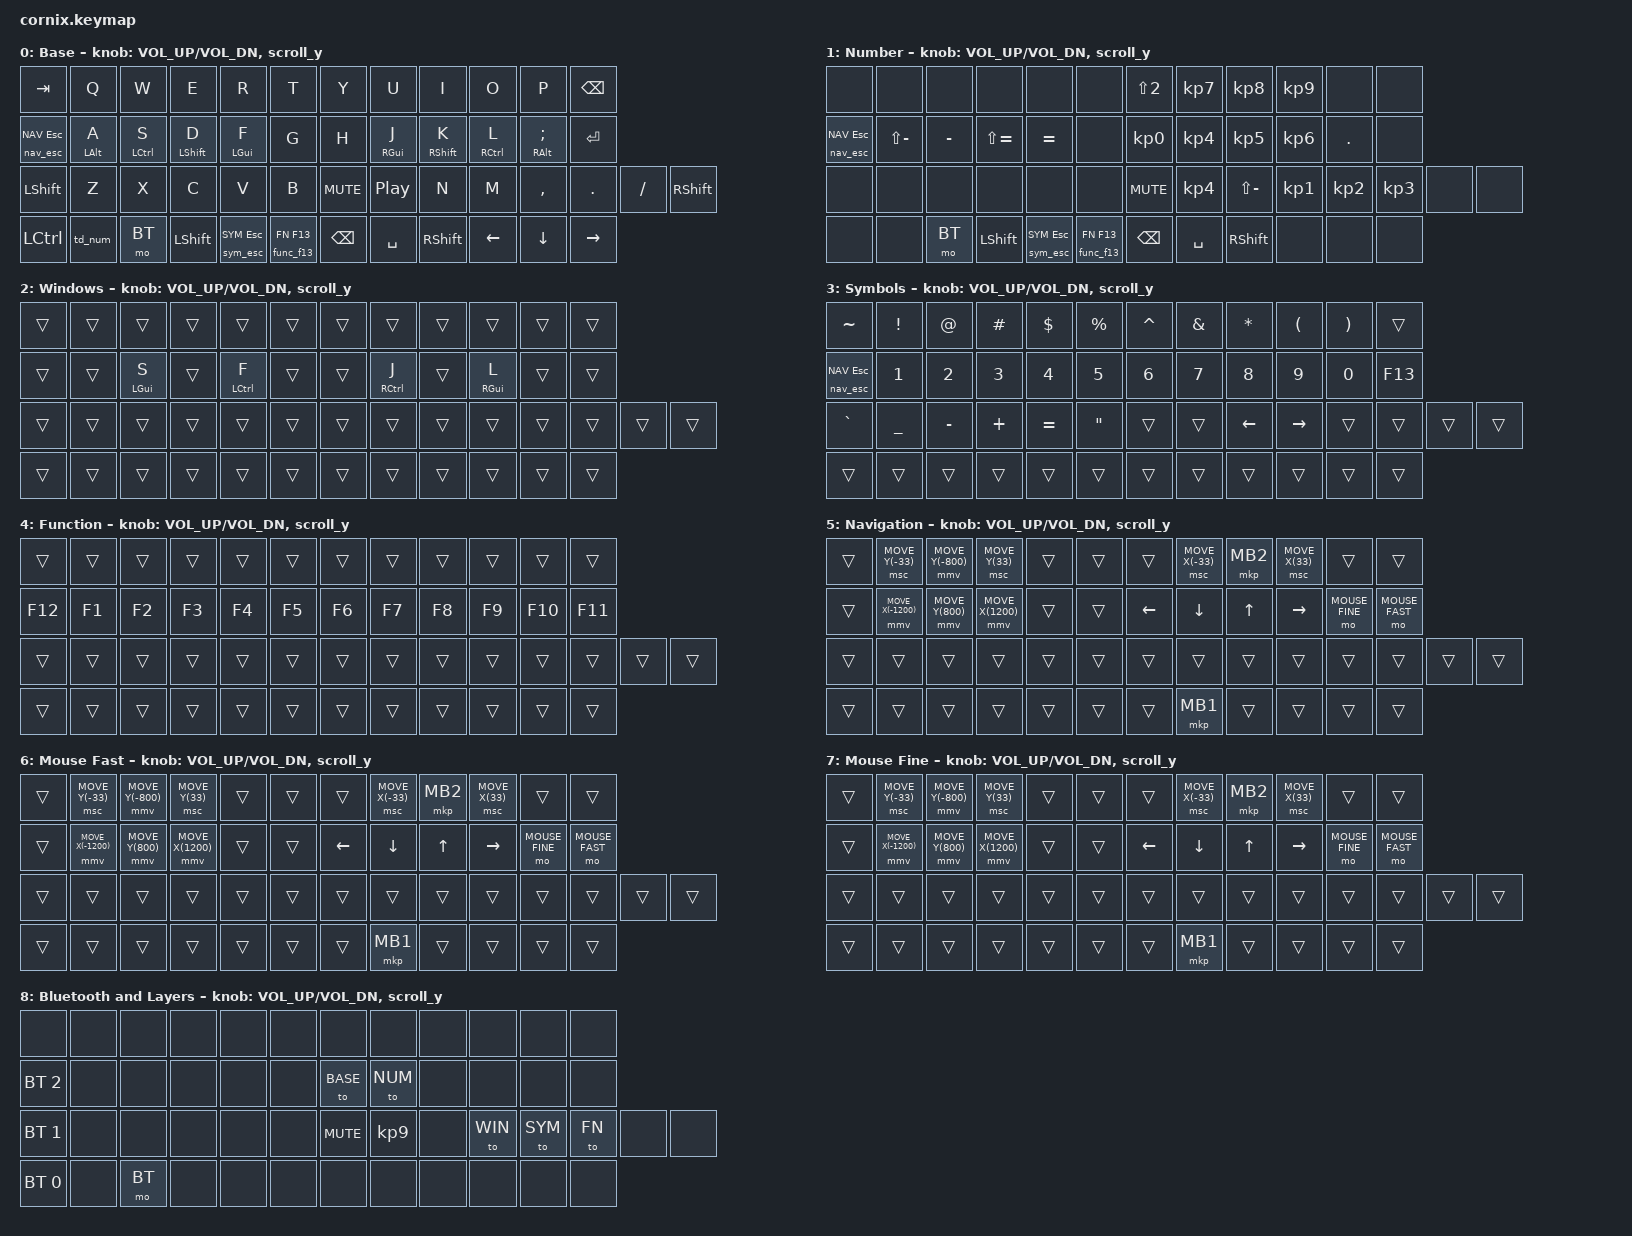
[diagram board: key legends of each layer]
/* Native ZMK adaptation of the active Kanata profile. See docs/kanata-zmk.md.
 * 50 logical positions, including encoder presses and auxiliary keys.
 */
#include "includes/cornix54.h"
#include "includes/kanata-timing.h"
#include <behaviors.dtsi>
#include <dt-bindings/zmk/bt.h>
#include <dt-bindings/zmk/keys.h>
#include <dt-bindings/zmk/pointing.h>
#include <input/processors.dtsi>
#include "includes/kanata-behaviors.dtsi"
#include "includes/kanata-combos.dtsi"

/* Kanata uses constant movement: 8 px/10 ms vertical, 12 px/10 ms horizontal.
 * HID/OS pointer acceleration can still change the observed pixel distance.
 */
&mmv {
    time-to-max-speed-ms = <0>;
    acceleration-exponent = <0>;
};
&msc {
    time-to-max-speed-ms = <0>;
    acceleration-exponent = <0>;
};
&mmv_input_listener {
    /* First match wins: fine overrides fast, regardless of press order.
     * 800 * 1/4 = 200 and 1200 * 1/6 = 200 approximate Kanata's
     * separately rounded 2 px/10 ms on both axes at 20% speed.
     */
    fine {
        layers = <MOUSE_FINE>;
        input-processors = <&zip_x_scaler 1 6>, <&zip_y_scaler 1 4>;
    };
    fast {
        layers = <MOUSE_FAST>;
        input-processors = <&zip_xy_scaler 2 1>;
    };
};

/ {
    behaviors {
        scroll_y: scroll_y {
            compatible = "zmk,behavior-sensor-rotate";
            #sensor-binding-cells = <0>;
            bindings = <&msc SCRL_DOWN>, <&msc SCRL_UP>;
        };
    };
    keymap {
        compatible = "zmk,keymap";
        layer0 {
            display-name = "Base";
            bindings = <
                &kp TAB              &kp Q                &kp W                &kp E                &kp R                &kp T                &kp Y                &kp U                &kp I                &kp O                &kp P                &kp BSPC
                &nav_esc NAV ESC     &hm_l LALT A         &hm_l LCTRL S        &hm_l LSHFT D        &hm_l LGUI F         &kp G                &kp H                &hm_r RGUI J         &hm_r RSHFT K        &hm_r RCTRL L        &hm_r RALT SEMI      &kp RET
                &kp LSHFT            &kp Z                &kp X                &kp C                &kp V                &kp B                &kp K_MUTE           &kp C_PP             &kp N                &kp M                &kp COMMA            &kp DOT              &kp FSLH             &kp RSHFT
                &kp LCTRL            &td_num              &mo BT               &kp LSHFT            &sym_esc SYM ESC     &func_f13 FN F13              &kp BSPC              &kp SPACE            &kp RSHFT            &kp LEFT             &kp DOWN             &kp RIGHT
            >;
            sensor-bindings = <&inc_dec_kp C_VOL_UP C_VOL_DN &scroll_y>;
        };
        layer1 {
            display-name = "Number";
            bindings = <
                &none                &none                &none                &none                &none                &none                &kp LS(N2)           &kp KP_N7            &kp KP_N8            &kp KP_N9            &none                &none
                &nav_esc NAV ESC     &kp LS(MINUS)        &kp MINUS            &kp LS(EQUAL)        &kp EQUAL            &none                &kp KP_N0            &kp KP_NUMBER_4      &kp KP_NUMBER_5      &kp KP_N6            &kp DOT              &none
                &none                &none                &none                &none                &none                &none                &kp K_MUTE           &kp KP_NUMBER_4      &kp LS(MINUS)        &kp KP_N1            &kp KP_N2            &kp KP_N3            &none                &none
                &none                &none                &mo BT               &kp LSHFT            &sym_esc SYM ESC     &func_f13 FN F13              &kp BSPC              &kp SPACE            &kp RSHFT            &none                &none                &none
            >;

            sensor-bindings = <&inc_dec_kp C_VOL_UP C_VOL_DN &scroll_y>;
        };
        layer2 {
            display-name = "Windows";
            bindings = <
                &trans               &trans               &trans               &trans               &trans               &trans               &trans               &trans               &trans               &trans               &trans               &trans
                &trans               &trans               &hm_l LGUI S         &trans               &hm_l LCTRL F        &trans               &trans               &hm_r RCTRL J        &trans               &hm_r RGUI L         &trans               &trans
                &trans               &trans               &trans               &trans               &trans               &trans               &trans               &trans               &trans               &trans               &trans               &trans               &trans               &trans
                &trans               &trans               &trans               &trans               &trans               &trans               &trans               &trans               &trans               &trans               &trans               &trans
            >;
            sensor-bindings = <&inc_dec_kp C_VOL_UP C_VOL_DN &scroll_y>;
        };
        layer3 {
            display-name = "Symbols";
            bindings = <
                &kp TILDE            &kp EXCL             &kp AT               &kp HASH             &kp DLLR             &kp PRCNT            &kp CARET            &kp AMPS             &kp ASTERISK         &kp LPAR             &kp RPAR             &trans
                &nav_esc NAV ESC         &kp N1               &kp N2               &kp N3               &kp N4               &kp N5               &kp N6               &kp N7               &kp N8               &kp N9               &kp N0               &kp F13
                &kp GRAVE            &kp UNDER            &kp MINUS            &kp PLUS             &kp EQUAL            &kp DQT              &trans               &trans               &kp LEFT             &kp RIGHT            &trans               &trans               &trans               &trans
                &trans               &trans               &trans               &trans               &trans               &trans               &trans                &trans               &trans               &trans               &trans               &trans
            >;
            sensor-bindings = <&inc_dec_kp C_VOL_UP C_VOL_DN &scroll_y>;
        };
        layer4 {
            display-name = "Function";
            bindings = <
                &trans               &trans               &trans               &trans               &trans               &trans               &trans               &trans               &trans               &trans               &trans               &trans
                &kp F12              &kp F1               &kp F2               &kp F3               &kp F4               &kp F5               &kp F6               &kp F7               &kp F8               &kp F9               &kp F10              &kp F11
                &trans               &trans               &trans               &trans               &trans               &trans               &trans               &trans               &trans               &trans               &trans               &trans               &trans               &trans
                &trans               &trans               &trans               &trans               &trans               &trans               &trans               &trans               &trans               &trans               &trans               &trans
            >;
            sensor-bindings = <&inc_dec_kp C_VOL_UP C_VOL_DN &scroll_y>;
        };
        layer5 {
            display-name = "Navigation";
            bindings = <
                &trans               &msc MOVE_Y(-33)     &mmv MOVE_Y(-800)    &msc MOVE_Y(33)      &trans               &trans               &trans               &msc MOVE_X(-33)     &mkp MB2             &msc MOVE_X(33)      &trans               &trans
                &trans               &mmv MOVE_X(-1200)   &mmv MOVE_Y(800)     &mmv MOVE_X(1200)    &trans               &trans               &kp LEFT             &kp DOWN             &kp UP               &kp RIGHT            &mo MOUSE_FINE       &mo MOUSE_FAST
                &trans               &trans               &trans               &trans               &trans               &trans               &trans               &trans               &trans               &trans               &trans               &trans               &trans               &trans
                &trans               &trans               &trans               &trans               &trans               &trans               &trans               &mkp MB1             &trans               &trans               &trans               &trans
            >;
            sensor-bindings = <&inc_dec_kp C_VOL_UP C_VOL_DN &scroll_y>;
        };
        layer6 {
            display-name = "Mouse Fast";
            bindings = <
                &trans               &msc MOVE_Y(-33)     &mmv MOVE_Y(-800)    &msc MOVE_Y(33)      &trans               &trans               &trans               &msc MOVE_X(-33)     &mkp MB2             &msc MOVE_X(33)      &trans               &trans
                &trans               &mmv MOVE_X(-1200)   &mmv MOVE_Y(800)     &mmv MOVE_X(1200)    &trans               &trans               &kp LEFT             &kp DOWN             &kp UP               &kp RIGHT            &mo MOUSE_FINE       &mo MOUSE_FAST
                &trans               &trans               &trans               &trans               &trans               &trans               &trans               &trans               &trans               &trans               &trans               &trans               &trans               &trans
                &trans               &trans               &trans               &trans               &trans               &trans               &trans               &mkp MB1             &trans               &trans               &trans               &trans
            >;
            sensor-bindings = <&inc_dec_kp C_VOL_UP C_VOL_DN &scroll_y>;
        };
        layer7 {
            display-name = "Mouse Fine";
            bindings = <
                &trans               &msc MOVE_Y(-33)     &mmv MOVE_Y(-800)    &msc MOVE_Y(33)      &trans               &trans               &trans               &msc MOVE_X(-33)     &mkp MB2             &msc MOVE_X(33)      &trans               &trans
                &trans               &mmv MOVE_X(-1200)   &mmv MOVE_Y(800)     &mmv MOVE_X(1200)    &trans               &trans               &kp LEFT             &kp DOWN             &kp UP               &kp RIGHT            &mo MOUSE_FINE       &mo MOUSE_FAST
                &trans               &trans               &trans               &trans               &trans               &trans               &trans               &trans               &trans               &trans               &trans               &trans               &trans               &trans
                &trans               &trans               &trans               &trans               &trans               &trans               &trans               &mkp MB1             &trans               &trans               &trans               &trans
            >;
            sensor-bindings = <&inc_dec_kp C_VOL_UP C_VOL_DN &scroll_y>;
        };
        layer8 {
            display-name = "Bluetooth and Layers";
            bindings = <
                &none         &none  &none   &none  &none  &none                         &none     &none    &none    &none   &none  &none
                &bt BT_SEL 2  &none  &none   &none  &none  &none                         &to BASE  &to NUM  &none    &none   &none  &none
                &bt BT_SEL 1  &none  &none   &none  &none  &none  &kp K_MUTE  &kp KP_N9  &none     &to WIN  &to SYM  &to FN  &none  &none
                &bt BT_SEL 0  &none  &mo BT  &none  &none  &none                         &none     &none    &none    &none   &none  &none
            >;

            sensor-bindings = <&inc_dec_kp C_VOL_UP C_VOL_DN &scroll_y>;
        };
    };
};
